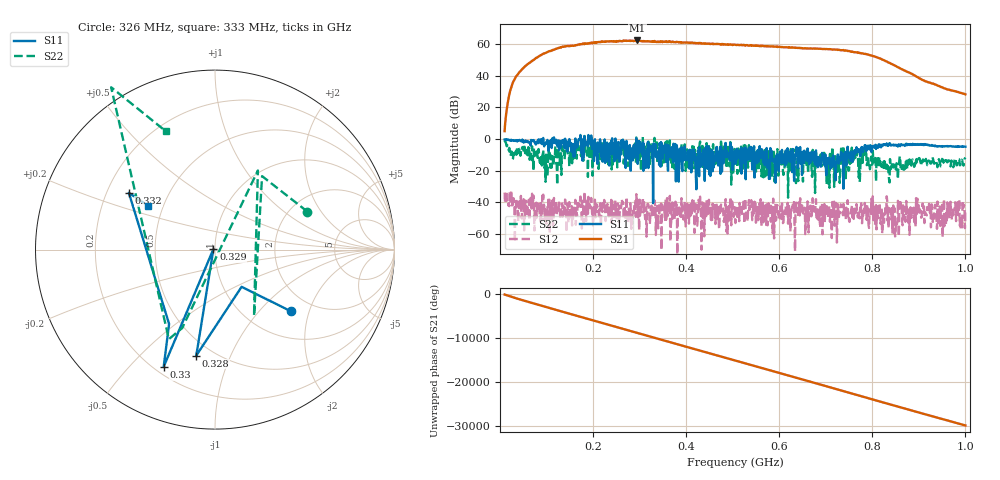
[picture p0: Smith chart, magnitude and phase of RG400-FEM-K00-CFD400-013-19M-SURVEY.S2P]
!Agilent Technologies,E5071C,MY46106131,A.11.36
!Date: Thu Jul 10 17:18:37 2025
!Data & Calibration Information:
!Freq	S11:SOLT2(ON)	S21:SOLT2(ON)	S12:SOLT2(ON)	S22:SOLT2(ON)
!PortZ  Port1:50+j0  Port2:50+j0
!Above PortZ is port z conversion or system Z0 setting when saving the data.
!When reading, reference impedance value at option line is always used.
# Hz S dB R 50
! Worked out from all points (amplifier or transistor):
!   991 points, 10 MHz to 1 GHz, reference 50 ohm
!   highest |S21| = 62.2 dB at 295 MHz (marker M1)
!   |S21| within 3 dB of that: 164.1 MHz to 520.7 MHz (356.6 MHz wide, 104 % of centre)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
!   unconditionally stable (mu >= 1): 911.3 MHz to 917.4 MHz; 940 MHz to 954 MHz; 954 MHz to end of sweep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
!   at 175 MHz: K = 4.34, MSG = 50.6 dB, |S12| = -41.5 dB
!   at 505 MHz: K = 1.62, MSG = 54.6 dB, |S12| = -49.7 dB
!   at 1 GHz: K = 2.36, MAG = 30.0 dB, |S12| = -45.0 dB
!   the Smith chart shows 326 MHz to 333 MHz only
!   S11 on the Smith chart (normalised r, x): 326 MHz: 1.56, -1.52; 328 MHz: 0.41, -0.75; 329 MHz: 0.98, +0.01; 330 MHz: 0.24, -0.63; 332 MHz: 0.29, +0.28; 333 MHz: 0.41, +0.25
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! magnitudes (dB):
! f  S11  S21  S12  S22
! 10 MHz  -0.3  4.9  -33.9  -2.0
! 24 MHz  -0.6  32.4  -32.4  -9.2
! 46 MHz  -1.6  43.5  -47.7  -5.7
! 99 MHz  -3.1  54.4  -45.9  -10.0
! 175 MHz  -9.0  59.8  -41.5  -5.6
! 295 MHz  -3.1  62.2  -38.3  -3.2
! 326 MHz  -5.3  61.6  -42.2  -5.1
! 328 MHz  -4.4  61.3  -45.5  -7.4
! 329 MHz  -40.6  61.7  -44.8  -6.0
! 330 MHz  -2.9  61.3  -42.5  -6.5
! 332 MHz  -4.8  61.9  -38.8  0.6
! 333 MHz  -7.0  61.7  -41.2  -2.9
! 340 MHz  -8.6  61.4  -56.5  -10.8
! 424 MHz  -13.9  60.5  -54.8  -23.5
! 505 MHz  -9.0  59.5  -49.7  -13.2
! 670 MHz  -8.2  57.1  -43.5  -23.3
! 704 MHz  -15.6  56.7  -48.9  -14.6
! 784 MHz  -4.0  53.7  -40.5  -5.3
! 835 MHz  -3.6  48.2  -56.4  -22.5
! 850 MHz  -3.7  46.1  -56.6  -19.7
! 859 MHz  -4.5  44.6  -39.1  -11.0
! 1 GHz  -5.0  28.1  -45.0  -11.8
